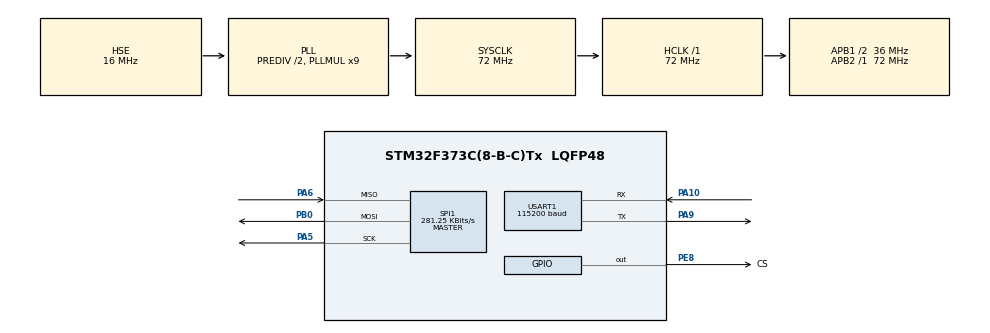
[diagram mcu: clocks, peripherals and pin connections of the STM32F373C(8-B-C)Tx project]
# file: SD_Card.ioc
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FATFS._MAX_SS=4096
FATFS._USE_LABEL=0
FATFS._USE_LFN=1
Mcu.Family=STM32F3
Mcu.Name=STM32F373C(8-B-C)Tx
Mcu.Package=LQFP48
NVIC.PriorityGroup=NVIC_PRIORITYGROUP_4
PA10.Mode=Asynchronous
PA10.Signal=USART1_RX
PA13.Mode=Serial_Wire
PA13.Signal=SYS_JTMS-SWDIO
PA14.Mode=Serial_Wire
PA14.Signal=SYS_JTCK-SWCLK
PA5.GPIO_PuPd=GPIO_NOPULL
PA5.Mode=Full_Duplex_Master
PA5.Signal=SPI1_SCK
PA6.GPIO_PuPd=GPIO_PULLUP
PA6.Mode=Full_Duplex_Master
PA6.Signal=SPI1_MISO
PA9.Mode=Asynchronous
PA9.Signal=USART1_TX
PB0.GPIO_PuPd=GPIO_PULLUP
PB0.Mode=Full_Duplex_Master
PB0.Signal=SPI1_MOSI
PE8.GPIO_Label=CS
PE8.GPIO_PuPd=GPIO_PULLUP
PE8.GPIO_Speed=GPIO_SPEED_FREQ_HIGH
PE8.PinState=GPIO_PIN_SET
PE8.Signal=GPIO_Output
PF0-OSC_IN.Mode=HSE-External-Oscillator
PF0-OSC_IN.Signal=RCC_OSC_IN
PF1-OSC_OUT.Mode=HSE-External-Oscillator
PF1-OSC_OUT.Signal=RCC_OSC_OUT
ProjectManager.HeapSize=0x200
ProjectManager.StackSize=0x400
ProjectManager.TargetToolchain=STM32CubeIDE
RCC.AHBFreq_Value=72000000
RCC.APB1CLKDivider=RCC_HCLK_DIV2
RCC.APB1Freq_Value=36000000
RCC.APB1TimFreq_Value=72000000
RCC.APB2Freq_Value=72000000
RCC.APB2TimFreq_Value=72000000
RCC.CortexFreq_Value=72000000
RCC.HCLKFreq_Value=72000000
RCC.HSE_VALUE=16000000
RCC.HSI_VALUE=8000000
RCC.LSE_VALUE=32768
RCC.PLLMUL=RCC_PLL_MUL9
RCC.PLLSourceVirtual=RCC_PLLSOURCE_HSE
RCC.RCC_PLLsource_Clock_Source_FROM_HSE=RCC_HSE_PREDIV_DIV2
RCC.SYSCLKFreq_VALUE=72000000
RCC.SYSCLKSource=RCC_SYSCLKSOURCE_PLLCLK
RCC.USBFreq_Value=72000000
SPI1.BaudRatePrescaler=SPI_BAUDRATEPRESCALER_256
SPI1.CalculateBaudRate=281.25 KBits/s
SPI1.DataSize=SPI_DATASIZE_8BIT
SPI1.Direction=SPI_DIRECTION_2LINES
SPI1.Mode=SPI_MODE_MASTER
SPI1.VirtualType=VM_MASTER
USART1.BaudRate=115200
USART1.VirtualMode-Asynchronous=VM_ASYNC
VP_FATFS_VS_Generic.Mode=User_defined
board=custom

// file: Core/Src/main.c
/* USER CODE BEGIN Header */
/**
  ******************************************************************************
  * @file           : main.c
  * @brief          : Main program body
  ******************************************************************************
  * @attention
  *
  * <h2><center>&copy; Copyright (c) 2026 STMicroelectronics.
  * All rights reserved.</center></h2>
  *
  * This software component is licensed by ST under BSD 3-Clause license,
  * the "License"; You may not use this file except in compliance with the
  * License. You may obtain a copy of the License at:
  *                        opensource.org/licenses/BSD-3-Clause
  *
  ******************************************************************************
  */
/* USER CODE END Header */
#include "main.h"
#include "fatfs.h"
#include "spi.h"
#include "usart.h"
#include "gpio.h"

/* USER CODE BEGIN Includes */
#include <stdbool.h>
#include <stdio.h>
#include <string.h>
/* USER CODE END Includes */

void SystemClock_Config(void);

/* USER CODE BEGIN 0 */
SPI_HandleTypeDef hspi1;
UART_HandleTypeDef huart1;
char TxBuffer[250];
uint8_t response = 0xFF;
static void SD_Card_Test(void);

static void UART_Print(char* str)
{
    HAL_UART_Transmit(&huart1, (uint8_t *) str, strlen(str), 100);
}
/* USER CODE END 0 */

int main(void)
{

  /* MCU Configuration--------------------------------------------------------*/

  /* Reset of all peripherals, Initializes the Flash interface and the Systick. */
  HAL_Init();

  /* Configure the system clock */
  SystemClock_Config();

  /* Initialize all configured peripherals */
  MX_GPIO_Init();
  MX_SPI1_Init();
  MX_USART1_UART_Init();
  MX_FATFS_Init();
  /* USER CODE BEGIN 2 */
  HAL_Delay(10000);
  SD_Card_Test();

  /* USER CODE END 2 */

  /* Infinite loop */
  while (1)
  {

  }
}

void SystemClock_Config(void)
{
  RCC_OscInitTypeDef RCC_OscInitStruct = {0};
  RCC_ClkInitTypeDef RCC_ClkInitStruct = {0};
  RCC_PeriphCLKInitTypeDef PeriphClkInit = {0};

  /** Initializes the RCC Oscillators according to the specified parameters
  * in the RCC_OscInitTypeDef structure.
  */
  RCC_OscInitStruct.OscillatorType = RCC_OSCILLATORTYPE_HSE;
  RCC_OscInitStruct.HSEState = RCC_HSE_ON;
  RCC_OscInitStruct.HSEPredivValue = RCC_HSE_PREDIV_DIV2;
  RCC_OscInitStruct.HSIState = RCC_HSI_ON;
  RCC_OscInitStruct.PLL.PLLState = RCC_PLL_ON;
  RCC_OscInitStruct.PLL.PLLSource = RCC_PLLSOURCE_HSE;
  RCC_OscInitStruct.PLL.PLLMUL = RCC_PLL_MUL9;
  if (HAL_RCC_OscConfig(&RCC_OscInitStruct) != HAL_OK)
  {
    Error_Handler();
  }
  /** Initializes the CPU, AHB and APB buses clocks
  */
  RCC_ClkInitStruct.ClockType = RCC_CLOCKTYPE_HCLK|RCC_CLOCKTYPE_SYSCLK
                              |RCC_CLOCKTYPE_PCLK1|RCC_CLOCKTYPE_PCLK2;
  RCC_ClkInitStruct.SYSCLKSource = RCC_SYSCLKSOURCE_PLLCLK;
  RCC_ClkInitStruct.AHBCLKDivider = RCC_SYSCLK_DIV1;
  RCC_ClkInitStruct.APB1CLKDivider = RCC_HCLK_DIV2;
  RCC_ClkInitStruct.APB2CLKDivider = RCC_HCLK_DIV1;

  if (HAL_RCC_ClockConfig(&RCC_ClkInitStruct, FLASH_LATENCY_2) != HAL_OK)
  {
    Error_Handler();
  }
  PeriphClkInit.PeriphClockSelection = RCC_PERIPHCLK_USART1;
  PeriphClkInit.Usart1ClockSelection = RCC_USART1CLKSOURCE_PCLK2;
  if (HAL_RCCEx_PeriphCLKConfig(&PeriphClkInit) != HAL_OK)
  {
    Error_Handler();
  }
}

/* USER CODE BEGIN 4 */
static void SD_Card_Test(void)
{
  FATFS FatFs;
  FIL Fil;
  FRESULT FR_Status;
  FATFS *FS_Ptr;
  UINT RWC, WWC; // Read/Write Word Counter
  DWORD FreeClusters;
  uint32_t TotalSize, FreeSpace;
  char RW_Buffer[200];
  do
  {
    //------------------[ Mount The SD Card ]--------------------
    FR_Status = f_mount(&FatFs, "", 1);
    if (FR_Status != FR_OK)
    {
      sprintf(TxBuffer, "Error! While Mounting SD Card, Error Code: (%i)\r\n", FR_Status);
      UART_Print(TxBuffer);
      break;
    }
    sprintf(TxBuffer, "SD Card Mounted Successfully! \r\n\n");
    UART_Print(TxBuffer);
    //------------------[ Get & Print The SD Card Size & Free Space ]--------------------
    f_getfree("", &FreeClusters, &FS_Ptr);
    TotalSize = (uint32_t)((FS_Ptr->n_fatent - 2) * FS_Ptr->csize * 0.5);
    FreeSpace = (uint32_t)(FreeClusters * FS_Ptr->csize * 0.5);
    sprintf(TxBuffer, "Total SD Card Size: %lu Bytes\r\n", TotalSize);
    UART_Print(TxBuffer);
    sprintf(TxBuffer, "Free SD Card Space: %lu Bytes\r\n\n", FreeSpace);
    UART_Print(TxBuffer);
    //------------------[ Open A Text File For Write & Write Data ]--------------------
    //Open the file
    FR_Status = f_open(&Fil, "TextFileWrite.txt", FA_WRITE | FA_READ | FA_CREATE_ALWAYS);
    if(FR_Status != FR_OK)
    {
      sprintf(TxBuffer, "Error! While Creating/Opening A New Text File, Error Code: (%i)\r\n", FR_Status);
      UART_Print(TxBuffer);
      break;
    }
    sprintf(TxBuffer, "Text File Created & Opened! Writing Data To The Text File..\r\n\n");
    UART_Print(TxBuffer);
    // (1) Write Data To The Text File [ Using f_puts() Function ]
    f_puts("Hello! From STM32 To SD Card Over SPI, Using f_puts()\n", &Fil);
    // (2) Write Data To The Text File [ Using f_write() Function ]
    strcpy(RW_Buffer, "Hello! From STM32 To SD Card Over SPI, Using f_write()\r\n");
    f_write(&Fil, RW_Buffer, strlen(RW_Buffer), &WWC);
    // Close The File
    f_close(&Fil);
    //------------------[ Open A Text File For Read & Read Its Data ]--------------------
    // Open The File
    FR_Status = f_open(&Fil, "TextFileWrite.txt", FA_READ);
    if(FR_Status != FR_OK)
    {
      sprintf(TxBuffer, "Error! While Opening (TextFileWrite.txt) File For Read.. \r\n");
      UART_Print(TxBuffer);
      break;
    }
    // (1) Read The Text File's Data [ Using f_gets() Function ]
    f_gets(RW_Buffer, sizeof(RW_Buffer), &Fil);
    sprintf(TxBuffer, "Data Read From (TextFileWrite.txt) Using f_gets():%s", RW_Buffer);
    UART_Print(TxBuffer);
    // (2) Read The Text File's Data [ Using f_read() Function ]
    f_read(&Fil, RW_Buffer, f_size(&Fil), &RWC);
    sprintf(TxBuffer, "Data Read From (TextFileWrite.txt) Using f_read():%s", RW_Buffer);
    UART_Print(TxBuffer);
    // Close The File
    f_close(&Fil);
    sprintf(TxBuffer, "File Closed! \r\n\n");
    UART_Print(TxBuffer);
    //------------------[ Open An Existing Text File, Update Its Content, Read It Back ]--------------------
    // (1) Open The Existing File For Write (Update)
    FR_Status = f_open(&Fil, "TextFileWrite.txt", FA_OPEN_EXISTING | FA_WRITE);
    FR_Status = f_lseek(&Fil, f_size(&Fil)); // Move The File Pointer To The EOF (End-Of-File)
    if(FR_Status != FR_OK)
    {
      sprintf(TxBuffer, "Error! While Opening (TextFileWrite.txt) File For Update.. \r\n");
      UART_Print(TxBuffer);
      break;
    }
    // (2) Write New Line of Text Data To The File
    FR_Status = f_puts("This New Line Was Added During Update!\r\n", &Fil);
    f_close(&Fil);
    memset(RW_Buffer,'\0',sizeof(RW_Buffer)); // Clear The Buffer
    // (3) Read The Contents of The Text File After The Update
    FR_Status = f_open(&Fil, "TextFileWrite.txt", FA_READ); // Open The File For Read
    f_read(&Fil, RW_Buffer, f_size(&Fil), &RWC);
    sprintf(TxBuffer, "Data Read From (TextFileWrite.txt) After Update:%s", RW_Buffer);
    UART_Print(TxBuffer);
    f_close(&Fil);
    //------------------[ Delete The Text File ]--------------------
    // Delete The File
    /*
    FR_Status = f_unlink(TextFileWrite.txt);
    if (FR_Status != FR_OK){
        sprintf(TxBuffer, "Error! While Deleting The (TextFileWrite.txt) File.. \r\n");
        UART_Print(TxBuffer);
    }
    */
  } while(0);
  //------------------[ Test Complete! Unmount The SD Card ]--------------------
  FR_Status = f_mount(NULL, "", 0);
  if (FR_Status != FR_OK)
  {
      sprintf(TxBuffer, "Error! While Un-mounting SD Card, Error Code: (%i)\r\n", FR_Status);
      UART_Print(TxBuffer);
  } else{
      sprintf(TxBuffer, "SD Card Un-mounted Successfully! \r\n");
      UART_Print(TxBuffer);
  }
}
/* USER CODE END 4 */

void Error_Handler(void)
{
}

/************************ (C) COPYRIGHT STMicroelectronics *****END OF FILE****/
